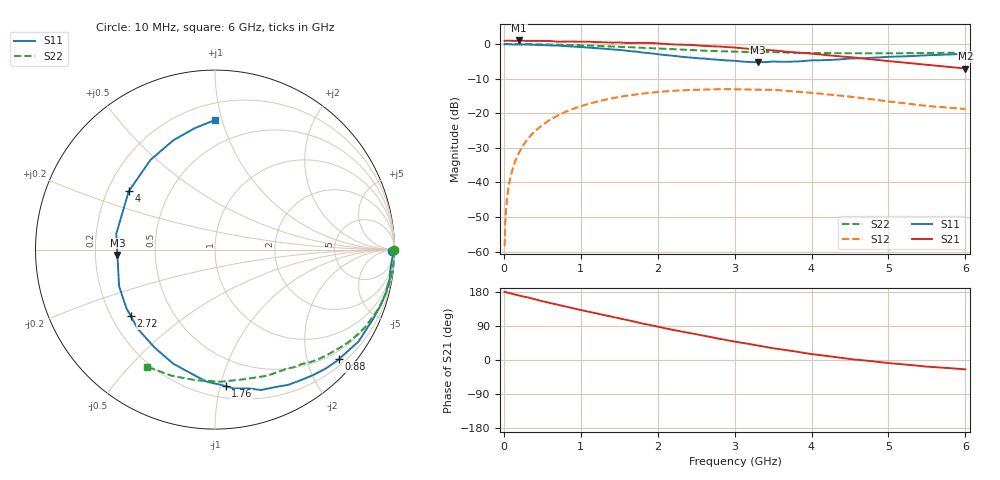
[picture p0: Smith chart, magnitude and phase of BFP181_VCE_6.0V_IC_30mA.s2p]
! Infineon Technologies  Discrete & RF Semiconductors
! BFP181
! VCE = 6.0 V,  IC =  30 mA
! Common Emitter S-Parameters:  Jan 2016
# GHz  S  MA  R  50
!  f  S11  S21  S12  S22
! GHz  MAG  ANG  MAG  ANG  MAG  ANG  MAG  ANG
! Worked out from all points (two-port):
!   210 points, 10 MHz to 6 GHz, reference 50 ohm
!   highest |S21| = 1.02 dB at 200 MHz (marker M1); lowest = -7.1 dB at 6 GHz (marker M2)
!   |S21| within 3 dB of the highest: start of sweep to 3.558 GHz
!   lowest |S11| = -5.3 dB at 3.3 GHz (marker M3), VSWR 3.39, Z = 14.7 - j1.24 ohm
!   |S11| at or under -10 dB: nowhere
!   |S22| runs from -2.7 to 0.0 dB; largest |S21 - S12| = 1.1
!   S11 on the Smith chart (normalised r, x): 10 MHz: open; 880 MHz: 0.32, -2.61; 1.76 GHz: 0.29, -1.04; 2.72 GHz: 0.28, -0.32; 4 GHz: 0.29, +0.28; 6 GHz: 0.31, +0.95
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0.01  0.988 -0.6  1.111 179.8  0.0012 86.3  0.9989 -0.2
0.015  0.9909 -0.8  1.111 179.7  0.002 85.5  0.9983 -0.3
0.025  0.9932 -1.1  1.112 179.4  0.0035 86.6  0.9978 -0.5
0.04  0.9913 -1.8  1.116 178.4  0.0056 88.6  0.9979 -0.9
0.06  0.9889 -2.8  1.117 177.2  0.0084 88.3  0.9979 -1.4
0.12  0.9838 -5.7  1.109 174.1  0.0166 85.2  0.9978 -2.8
0.2  0.9873 -9.5  1.124 170.1  0.0273 83.3  0.9972 -4.6
0.3  0.983 -13.9  1.107 165.8  0.041 79.5  0.9952 -7.0
0.45  0.9669 -21.1  1.107 157.7  0.0608 74.1  0.9902 -10.5
0.88  0.9217 -41.4  1.083 137.3  0.1133 59.2  0.966 -20.2
1.02  0.901 -48.2  1.077 130.9  0.1282 54.5  0.955 -23.3
1.5  0.8231 -71.9  1.052 109.8  0.1718 39.4  0.9117 -33.2
1.76  0.7631 -85.6  1.037 98.2  0.1893 32.0  0.8848 -38.1
2.02  0.7077 -99.7  1.018 87.0  0.2035 24.6  0.8598 -42.7
2.72  0.5978 -141.7  0.925 59.3  0.2213 6.2  0.7937 -54.7
3.1  0.5569 -164.8  0.867 45.3  0.2206 -3.1  0.7701 -60.9
3.3  0.5447 -176.9  0.831 38.4  0.2186 -7.5  0.7641 -64.2
4  0.58 146.0  0.726 15.6  0.1969 -21.0  0.7408 -77.0
4.1  0.5811 141.8  0.707 13.2  0.192 -22.3  0.7381 -79.0
4.5  0.6155 125.8  0.645 2.5  0.1737 -28.0  0.737 -87.3
5.1  0.6568 108.4  0.552 -9.8  0.1436 -31.1  0.7349 -100.2
6  0.7228 89.8  0.442 -24.7  0.1151 -24.4  0.7543 -120.0
